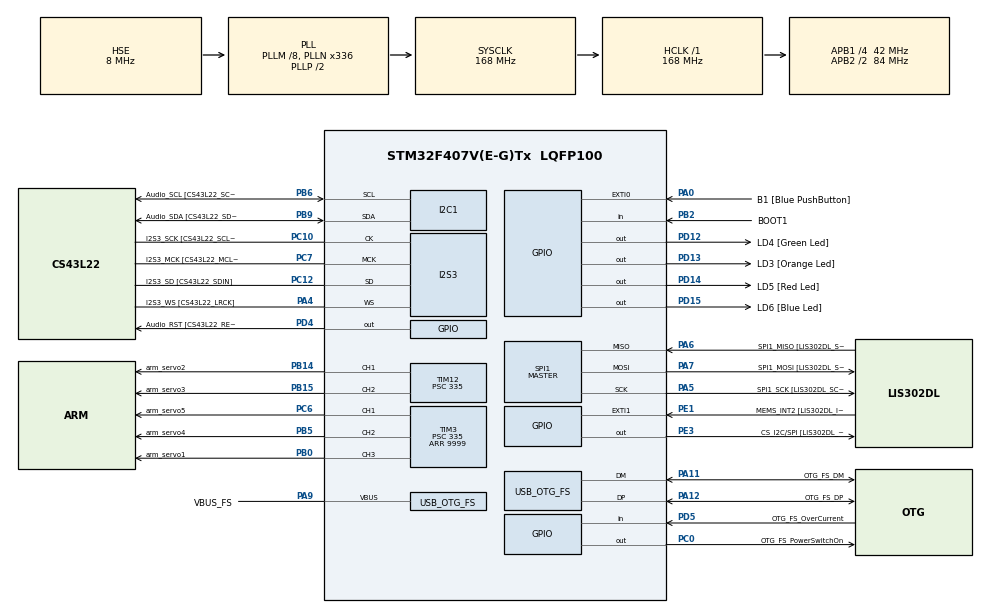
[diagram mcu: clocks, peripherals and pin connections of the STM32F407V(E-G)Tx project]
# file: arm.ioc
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I2S3.AudioFreq-Half_Duplex_Master=I2S_AUDIOFREQ_96K
I2S3.ErrorAudioFreq=-2.34 %
I2S3.ErrorAudioFreq-Half_Duplex_Master=0.8 %
I2S3.FullDuplexMode=I2S_FULLDUPLEXMODE_DISABLE
I2S3.Instance=SPI$Index
I2S3.RealAudioFreq=93.75 KHz
I2S3.RealAudioFreq-Half_Duplex_Master=96.774 KHz
I2S3.VirtualMode=I2S_MODE_MASTER
Mcu.Family=STM32F4
Mcu.Name=STM32F407V(E-G)Tx
Mcu.Package=LQFP100
NVIC.OTG_FS_IRQn=true\:0\:0\:false\:false\:true\:true\:true
NVIC.PriorityGroup=NVIC_PRIORITYGROUP_0
PA0-WKUP.GPIO_Label=B1 [Blue PushButton]
PA0-WKUP.GPIO_ModeDefaultEXTI=GPIO_MODE_EVT_RISING
PA0-WKUP.GPIO_PuPd=GPIO_NOPULL
PA0-WKUP.Signal=GPXTI0
PA10.GPIO_Label=OTG_FS_ID
PA10.GPIO_Mode=GPIO_MODE_AF_PP
PA10.GPIO_PuPd=GPIO_NOPULL
PA10.GPIO_Speed=GPIO_SPEED_FREQ_LOW
PA10.Signal=USB_OTG_FS_ID
PA11.GPIO_Label=OTG_FS_DM
PA11.GPIO_Mode=GPIO_MODE_AF_PP
PA11.GPIO_PuPd=GPIO_NOPULL
PA11.GPIO_Speed=GPIO_SPEED_FREQ_LOW
PA11.Mode=Host_Only
PA11.Signal=USB_OTG_FS_DM
PA12.GPIO_Label=OTG_FS_DP
PA12.GPIO_Mode=GPIO_MODE_AF_PP
PA12.GPIO_PuPd=GPIO_NOPULL
PA12.GPIO_Speed=GPIO_SPEED_FREQ_LOW
PA12.Mode=Host_Only
PA12.Signal=USB_OTG_FS_DP
PA13.GPIO_Label=SWDIO
PA13.Mode=Serial_Wire
PA13.Signal=SYS_JTMS-SWDIO
PA14.GPIO_Label=SWCLK
PA14.Mode=Serial_Wire
PA14.Signal=SYS_JTCK-SWCLK
PA4.GPIO_Label=I2S3_WS [CS43L22_LRCK]
PA4.GPIO_Mode=GPIO_MODE_AF_PP
PA4.GPIO_PuPd=GPIO_NOPULL
PA4.GPIO_Speed=GPIO_SPEED_FREQ_LOW
PA4.Mode=Half_Duplex_Master
PA4.Signal=I2S3_WS
PA5.GPIO_Label=SPI1_SCK [LIS302DL_SCL/SPC]
PA5.GPIO_Mode=GPIO_MODE_AF_PP
PA5.GPIO_PuPd=GPIO_NOPULL
PA5.GPIO_Speed=GPIO_SPEED_FREQ_LOW
PA5.Mode=Full_Duplex_Master
PA5.Signal=SPI1_SCK
PA6.GPIO_Label=SPI1_MISO [LIS302DL_SDO]
PA6.GPIO_Mode=GPIO_MODE_AF_PP
PA6.GPIO_PuPd=GPIO_NOPULL
PA6.GPIO_Speed=GPIO_SPEED_FREQ_LOW
PA6.Mode=Full_Duplex_Master
PA6.Signal=SPI1_MISO
PA7.GPIO_Label=SPI1_MOSI [LIS302DL_SDA/SDI/SDO]
PA7.GPIO_Mode=GPIO_MODE_AF_PP
PA7.GPIO_PuPd=GPIO_NOPULL
PA7.GPIO_Speed=GPIO_SPEED_FREQ_LOW
PA7.Mode=Full_Duplex_Master
PA7.Signal=SPI1_MOSI
PA9.GPIO_Label=VBUS_FS
PA9.GPIO_Mode=GPIO_MODE_INPUT
PA9.GPIO_PuPd=GPIO_NOPULL
PA9.Mode=Activate_VBUS
PA9.Signal=USB_OTG_FS_VBUS
PB0.GPIO_Label=arm_servo1
PB0.Signal=S_TIM3_CH3
PB10.GPIO_Label=CLK_IN [MP45DT02_CLK]
PB10.GPIO_Mode=GPIO_MODE_AF_PP
PB10.GPIO_PuPd=GPIO_NOPULL
PB10.GPIO_Speed=GPIO_SPEED_FREQ_LOW
PB10.Signal=I2S2_CK
PB14.GPIO_Label=arm_servo2
PB14.Signal=S_TIM12_CH1
PB15.GPIO_Label=arm_servo3
PB15.Signal=S_TIM12_CH2
PB2.GPIO_Label=BOOT1
PB2.GPIO_Mode=GPIO_MODE_INPUT
PB2.GPIO_PuPd=GPIO_NOPULL
PB2.Signal=GPIO_Input
PB3.GPIO_Label=SWO
PB3.Signal=SYS_JTDO-SWO
PB5.GPIO_Label=arm_servo4
PB5.Signal=S_TIM3_CH2
PB6.GPIO_Label=Audio_SCL [CS43L22_SCL]
PB6.GPIO_Mode=GPIO_MODE_AF_OD
PB6.GPIO_PuPd=GPIO_NOPULL
PB6.GPIO_Speed=GPIO_SPEED_FREQ_LOW
PB6.Mode=I2C
PB6.Signal=I2C1_SCL
PB9.GPIO_Label=Audio_SDA [CS43L22_SDA]
PB9.GPIO_Mode=GPIO_MODE_AF_OD
PB9.GPIO_PuPd=GPIO_NOPULL
PB9.GPIO_Speed=GPIO_SPEED_FREQ_LOW
PB9.Mode=I2C
PB9.Signal=I2C1_SDA
PC0.GPIO_Label=OTG_FS_PowerSwitchOn
PC0.GPIO_PuPd=GPIO_NOPULL
PC0.GPIO_Speed=GPIO_SPEED_FREQ_LOW
PC0.PinState=GPIO_PIN_SET
PC0.Signal=GPIO_Output
PC10.GPIO_Label=I2S3_SCK [CS43L22_SCLK]
PC10.GPIO_Mode=GPIO_MODE_AF_PP
PC10.GPIO_PuPd=GPIO_NOPULL
PC10.GPIO_Speed=GPIO_SPEED_FREQ_LOW
PC10.Mode=Half_Duplex_Master
PC10.Signal=I2S3_CK
PC12.GPIO_Label=I2S3_SD [CS43L22_SDIN]
PC12.GPIO_Mode=GPIO_MODE_AF_PP
PC12.GPIO_PuPd=GPIO_NOPULL
PC12.GPIO_Speed=GPIO_SPEED_FREQ_LOW
PC12.Mode=Half_Duplex_Master
PC12.Signal=I2S3_SD
PC14-OSC32_IN.GPIO_Label=PC14-OSC32_IN
PC14-OSC32_IN.Mode=LSE-External-Oscillator
PC14-OSC32_IN.Signal=RCC_OSC32_IN
PC15-OSC32_OUT.GPIO_Label=PC15-OSC32_OUT
PC15-OSC32_OUT.Mode=LSE-External-Oscillator
PC15-OSC32_OUT.Signal=RCC_OSC32_OUT
PC3.GPIO_Label=PDM_OUT [MP45DT02_DOUT]
PC3.GPIO_Mode=GPIO_MODE_AF_PP
PC3.GPIO_PuPd=GPIO_NOPULL
PC3.GPIO_Speed=GPIO_SPEED_FREQ_LOW
PC3.Signal=I2S2_SD
PC6.GPIO_Label=arm_servo5
PC6.Signal=S_TIM3_CH1
PC7.GPIO_Label=I2S3_MCK [CS43L22_MCLK]
PC7.GPIO_Mode=GPIO_MODE_AF_PP
PC7.GPIO_PuPd=GPIO_NOPULL
PC7.GPIO_Speed=GPIO_SPEED_FREQ_LOW
PC7.Mode=Master_Clock_Activated
PC7.Signal=I2S3_MCK
PD12.GPIO_Label=LD4 [Green Led]
PD12.GPIO_PuPd=GPIO_NOPULL
PD12.GPIO_Speed=GPIO_SPEED_FREQ_LOW
PD12.Signal=GPIO_Output
PD13.GPIO_Label=LD3 [Orange Led]
PD13.GPIO_PuPd=GPIO_NOPULL
PD13.GPIO_Speed=GPIO_SPEED_FREQ_LOW
PD13.Signal=GPIO_Output
PD14.GPIO_Label=LD5 [Red Led]
PD14.GPIO_PuPd=GPIO_NOPULL
PD14.GPIO_Speed=GPIO_SPEED_FREQ_LOW
PD14.Signal=GPIO_Output
PD15.GPIO_Label=LD6 [Blue Led]
PD15.GPIO_PuPd=GPIO_NOPULL
PD15.GPIO_Speed=GPIO_SPEED_FREQ_LOW
PD15.Signal=GPIO_Output
PD4.GPIO_Label=Audio_RST [CS43L22_RESET]
PD4.GPIO_PuPd=GPIO_NOPULL
PD4.GPIO_Speed=GPIO_SPEED_FREQ_LOW
PD4.Signal=GPIO_Output
PD5.GPIO_Label=OTG_FS_OverCurrent
PD5.GPIO_Mode=GPIO_MODE_INPUT
PD5.GPIO_PuPd=GPIO_NOPULL
PD5.Signal=GPIO_Input
PE1.GPIO_Label=MEMS_INT2 [LIS302DL_INT2]
PE1.GPIO_ModeDefaultEXTI=GPIO_MODE_EVT_RISING
PE1.GPIO_PuPd=GPIO_NOPULL
PE1.Signal=GPXTI1
PE3.GPIO_Label=CS_I2C/SPI [LIS302DL_CS_I2C/SPI]
PE3.GPIO_PuPd=GPIO_NOPULL
PE3.GPIO_Speed=GPIO_SPEED_FREQ_LOW
PE3.Signal=GPIO_Output
PH0-OSC_IN.GPIO_Label=PH0-OSC_IN
PH0-OSC_IN.Mode=HSE-External-Oscillator
PH0-OSC_IN.Signal=RCC_OSC_IN
PH1-OSC_OUT.GPIO_Label=PH1-OSC_OUT
PH1-OSC_OUT.Mode=HSE-External-Oscillator
PH1-OSC_OUT.Signal=RCC_OSC_OUT
ProjectManager.HeapSize=0x200
ProjectManager.StackSize=0x400
ProjectManager.TargetToolchain=TrueSTUDIO
RCC.48MHZClocksFreq_Value=48000000
RCC.AHBFreq_Value=168000000
RCC.APB1CLKDivider=RCC_HCLK_DIV4
RCC.APB1Freq_Value=42000000
RCC.APB1TimFreq_Value=84000000
RCC.APB2CLKDivider=RCC_HCLK_DIV2
RCC.APB2Freq_Value=84000000
RCC.APB2TimFreq_Value=168000000
RCC.CortexFreq_Value=168000000
RCC.HCLKFreq_Value=168000000
RCC.HSE_VALUE=8000000
RCC.HSI_VALUE=16000000
RCC.PLLM=8
RCC.PLLN=336
RCC.PLLQ=7
RCC.SYSCLKFreq_VALUE=168000000
RCC.SYSCLKSource=RCC_SYSCLKSOURCE_PLLCLK
RCC.VCOOutputFreq_Value=336000000
SH.S_TIM12_CH1.0=TIM12_CH1,PWM Generation1 CH1
SH.S_TIM12_CH2.0=TIM12_CH2,PWM Generation2 CH2
SH.S_TIM3_CH1.0=TIM3_CH1,PWM Generation1 CH1
SH.S_TIM3_CH2.0=TIM3_CH2,PWM Generation2 CH2
SH.S_TIM3_CH3.0=TIM3_CH3,PWM Generation3 CH3
SPI1.BaudRatePrescaler-Full_Duplex_Master=SPI_BAUDRATEPRESCALER_2
SPI1.CalculateBaudRate-Full_Duplex_Master=42.0 MBits/s
SPI1.Direction=SPI_DIRECTION_2LINES
SPI1.Mode=SPI_MODE_MASTER
SPI1.Mode-Full_Duplex_Master=SPI_MODE_MASTER
SPI1.VirtualType=VM_MASTER
TIM12.Channel-PWM\ Generation1\ CH1=TIM_CHANNEL_1
TIM12.Channel-PWM\ Generation2\ CH2=TIM_CHANNEL_2
TIM12.Period=9999
TIM12.Prescaler=335
TIM12.Pulse-PWM\ Generation1\ CH1=370
TIM12.Pulse-PWM\ Generation2\ CH2=370
TIM3.Channel-PWM\ Generation1\ CH1=TIM_CHANNEL_1
TIM3.Channel-PWM\ Generation2\ CH2=TIM_CHANNEL_2
TIM3.Channel-PWM\ Generation3\ CH3=TIM_CHANNEL_3
TIM3.Period=9999
TIM3.Prescaler=335
TIM3.Pulse-PWM\ Generation1\ CH1=230
TIM3.Pulse-PWM\ Generation2\ CH2=370
TIM3.Pulse-PWM\ Generation3\ CH3=230
USB_HOST.BSP.number=1
USB_HOST.USBH_HandleTypeDef-CDC_FS=hUsbHostFS
USB_HOST.VirtualModeFS=Cdc
USB_HOST0.BSP.STBoard=false
USB_HOST0.BSP.api=Unknown
USB_HOST0.BSP.i2caddr=0
USB_HOST0.BSP.i2creg=0
USB_HOST0.BSP.instance=PC0
USB_HOST0.BSP.ip=GPIO
USB_HOST0.BSP.mode=Output
USB_HOST0.BSP.name=Drive_VBUS_FS
USB_HOST0.BSP.solution=PC0
USB_OTG_FS.VirtualMode=Host_Only
USB_OTG_FS.phy_itface=HCD_PHY_EMBEDDED
VP_TIM12_VS_ClockSourceINT.Mode=Internal
VP_TIM3_VS_ClockSourceINT.Mode=Internal
VP_USB_HOST_VS_USB_HOST_CDC_FS.Mode=CDC_FS
board=STM32F407G-DISC1

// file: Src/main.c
/* USER CODE BEGIN Header */
/**
  ******************************************************************************
  * @file           : main.c
  * @brief          : Main program body
  ******************************************************************************
  * @attention
  *
  * <h2><center>&copy; Copyright (c) 2020 STMicroelectronics.
  * All rights reserved.</center></h2>
  *
  * This software component is licensed by ST under Ultimate Liberty license
  * SLA0044, the "License"; You may not use this file except in compliance with
  * the License. You may obtain a copy of the License at:
  *                             www.st.com/SLA0044
  *
  ******************************************************************************
  */
/* USER CODE END Header */

#include "main.h"
#include "i2c.h"
#include "i2s.h"
#include "spi.h"
#include "tim.h"
#include "usb_host.h"
#include "gpio.h"

/* USER CODE BEGIN PV */
int MOTOR_PWM[5];
int mode[5]={1,1,1,1,1};
/* USER CODE END PV */

void SystemClock_Config(void);
void MX_USB_HOST_Process(void);

/* USER CODE BEGIN 0 */
void example(void){

	//turn right
	 if(mode[0] == 1 && mode[2] == 1){
		 MOTOR_PWM[0]--;
		 if (MOTOR_PWM[0]<380)
			 mode[0]=2;
		 HAL_Delay(10);
	 }
	 //grab an object
	 else if(mode[0] == 2 && mode[2] == 1){
		MOTOR_PWM[2]--;
		if (MOTOR_PWM[2]<215){
			mode[2] = 2;
		}
		HAL_Delay(10);
	 }
	 //turn left
	 else if(mode[0] == 2 && mode[2] == 2){
		 MOTOR_PWM[0]++;
		 if(MOTOR_PWM[0]>620)
			 mode[0]=0;
		 HAL_Delay(10);
	 }
	 //drop the object
	 else if (mode[0] == 0 && mode[2] == 2){
		MOTOR_PWM[2]++;
		if (MOTOR_PWM[2]>430){
			mode[2] = 0;
		}
		HAL_Delay(10);
	}

}
/* USER CODE END 0 */

int main(void)
{
  /* USER CODE BEGIN 1 */
	MOTOR_PWM[0]=620;//direction
	MOTOR_PWM[1]=120;//joint3
	MOTOR_PWM[2]=430;//clamp
	MOTOR_PWM[3]=110;//joint1
	MOTOR_PWM[4]=400;//joint2
  /* USER CODE END 1 */

  /* MCU Configuration--------------------------------------------------------*/

  /* Reset of all peripherals, Initializes the Flash interface and the Systick. */
  HAL_Init();

  /* Configure the system clock */
  SystemClock_Config();

  /* Initialize all configured peripherals */
  MX_GPIO_Init();
  MX_I2C1_Init();
  MX_I2S3_Init();
  MX_SPI1_Init();
  MX_USB_HOST_Init();
  MX_TIM3_Init();
  MX_TIM12_Init();
  /* USER CODE BEGIN 2 */
  HAL_TIM_PWM_Start(&htim3,TIM_CHANNEL_1);
  HAL_TIM_PWM_Start(&htim3,TIM_CHANNEL_2);
  HAL_TIM_PWM_Start(&htim3,TIM_CHANNEL_3);
  HAL_TIM_PWM_Start(&htim12,TIM_CHANNEL_1);
  HAL_TIM_PWM_Start(&htim12,TIM_CHANNEL_2);
  /* USER CODE END 2 */

  /* Infinite loop */
  while (1)
  {
    MX_USB_HOST_Process();

    /* USER CODE BEGIN 3 */
	TIM3->CCR1=MOTOR_PWM[0];
	TIM3->CCR2=MOTOR_PWM[1];
	TIM3->CCR3=MOTOR_PWM[2];
	TIM12->CCR1=MOTOR_PWM[3];
	TIM12->CCR2=MOTOR_PWM[4];

	example();
  }
  /* USER CODE END 3 */
}

void SystemClock_Config(void)
{
  RCC_OscInitTypeDef RCC_OscInitStruct = {0};
  RCC_ClkInitTypeDef RCC_ClkInitStruct = {0};
  RCC_PeriphCLKInitTypeDef PeriphClkInitStruct = {0};

  /** Configure the main internal regulator output voltage
  */
  __HAL_RCC_PWR_CLK_ENABLE();
  __HAL_PWR_VOLTAGESCALING_CONFIG(PWR_REGULATOR_VOLTAGE_SCALE1);
  /** Initializes the CPU, AHB and APB busses clocks
  */
  RCC_OscInitStruct.OscillatorType = RCC_OSCILLATORTYPE_HSE;
  RCC_OscInitStruct.HSEState = RCC_HSE_ON;
  RCC_OscInitStruct.PLL.PLLState = RCC_PLL_ON;
  RCC_OscInitStruct.PLL.PLLSource = RCC_PLLSOURCE_HSE;
  RCC_OscInitStruct.PLL.PLLM = 8;
  RCC_OscInitStruct.PLL.PLLN = 336;
  RCC_OscInitStruct.PLL.PLLP = RCC_PLLP_DIV2;
  RCC_OscInitStruct.PLL.PLLQ = 7;
  if (HAL_RCC_OscConfig(&RCC_OscInitStruct) != HAL_OK)
  {
    Error_Handler();
  }
  /** Initializes the CPU, AHB and APB busses clocks
  */
  RCC_ClkInitStruct.ClockType = RCC_CLOCKTYPE_HCLK|RCC_CLOCKTYPE_SYSCLK
                              |RCC_CLOCKTYPE_PCLK1|RCC_CLOCKTYPE_PCLK2;
  RCC_ClkInitStruct.SYSCLKSource = RCC_SYSCLKSOURCE_PLLCLK;
  RCC_ClkInitStruct.AHBCLKDivider = RCC_SYSCLK_DIV1;
  RCC_ClkInitStruct.APB1CLKDivider = RCC_HCLK_DIV4;
  RCC_ClkInitStruct.APB2CLKDivider = RCC_HCLK_DIV2;

  if (HAL_RCC_ClockConfig(&RCC_ClkInitStruct, FLASH_LATENCY_5) != HAL_OK)
  {
    Error_Handler();
  }
  PeriphClkInitStruct.PeriphClockSelection = RCC_PERIPHCLK_I2S;
  PeriphClkInitStruct.PLLI2S.PLLI2SN = 192;
  PeriphClkInitStruct.PLLI2S.PLLI2SR = 2;
  if (HAL_RCCEx_PeriphCLKConfig(&PeriphClkInitStruct) != HAL_OK)
  {
    Error_Handler();
  }
}

void Error_Handler(void)
{
}

/************************ (C) COPYRIGHT STMicroelectronics *****END OF FILE****/
